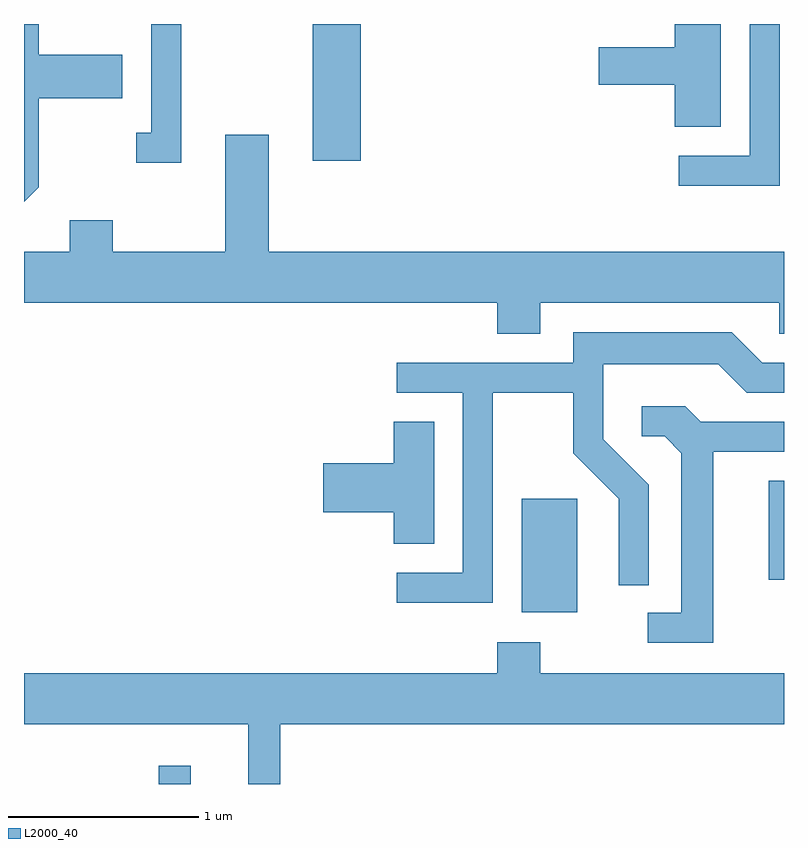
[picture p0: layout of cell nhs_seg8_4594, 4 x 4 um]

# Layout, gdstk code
import gdstk
lib = gdstk.Library(unit=1e-6, precision=1e-09)
def R(c, l, rs):  # rectangles x0, y0, x1, y1
    for r in rs: c.add(gdstk.rectangle(r[:2], r[2:], *l))
def P(c, l, *ps):  # polygons
    for p in ps: c.add(gdstk.Polygon(p, *l))
L2000_40 = (2000, 40)

nhs_seg8_4594 = lib.new_cell('nhs_seg8_4594')
R(nhs_seg8_4594, L2000_40, [(324.321,1818.342,324.489,1818.438), (326.231,1819.246,326.524,1819.844), (327.531,1819.416,327.611,1819.939), (325.131,1821.621,325.384,1822.342)])
P(nhs_seg8_4594, L2000_40, [(324.439,1822.342),(324.281,1822.342),(324.281,1821.769),(324.203,1821.769),(324.203,1821.611),(324.439,1821.611)],
  [(327.279,1822.342),(327.036,1822.342),(327.036,1822.219),(326.636,1822.219),(326.636,1822.021),(327.036,1822.021),(327.036,1821.801),(327.279,1821.801)],
  [(327.589,1822.342),(327.431,1822.342),(327.431,1821.649),(327.058,1821.649),(327.058,1821.491),(327.589,1821.491)],
  [(323.689,1821.484),(323.689,1821.951),(324.129,1821.951),(324.129,1822.179),(323.689,1822.179),(323.689,1822.342),(323.611,1822.342),(323.611,1821.406)],
  [(326.329,1820.876),(327.586,1820.876),(327.586,1820.711),(327.611,1820.711),(327.611,1821.144),(324.899,1821.144),(324.899,1821.759),(324.671,1821.759),(324.671,1821.144),(324.079,1821.144),(324.079,1821.309),(323.851,1821.309),(323.851,1821.144),(323.611,1821.144),(323.611,1820.876),(326.101,1820.876),(326.101,1820.711),(326.329,1820.711)],
  [(326.079,1820.401),(326.501,1820.401),(326.501,1820.084),(326.741,1819.844),(326.741,1819.388),(326.899,1819.388),(326.899,1819.917),(326.659,1820.157),(326.659,1820.551),(327.264,1820.551),(327.414,1820.401),(327.611,1820.401),(327.611,1820.559),(327.497,1820.559),(327.337,1820.719),(326.501,1820.719),(326.501,1820.559),(325.573,1820.559),(325.573,1820.401),(325.921,1820.401),(325.921,1819.454),(325.573,1819.454),(325.573,1819.296),(326.079,1819.296)],
  [(327.239,1820.091),(327.611,1820.091),(327.611,1820.249),(327.172,1820.249),(327.092,1820.329),(326.863,1820.329),(326.863,1820.171),(326.984,1820.171),(327.071,1820.084),(327.071,1819.244),(326.893,1819.244),(326.893,1819.086),(327.239,1819.086)],
  [(325.769,1820.249),(325.556,1820.249),(325.556,1820.029),(325.186,1820.029),(325.186,1819.771),(325.556,1819.771),(325.556,1819.606),(325.769,1819.606)],
  [(324.959,1818.656),(327.611,1818.656),(327.611,1818.924),(326.329,1818.924),(326.329,1819.089),(326.101,1819.089),(326.101,1818.924),(323.611,1818.924),(323.611,1818.656),(324.791,1818.656),(324.791,1818.342),(324.959,1818.342)])

lib.write_gds('nhs_seg8_4594.gds')
